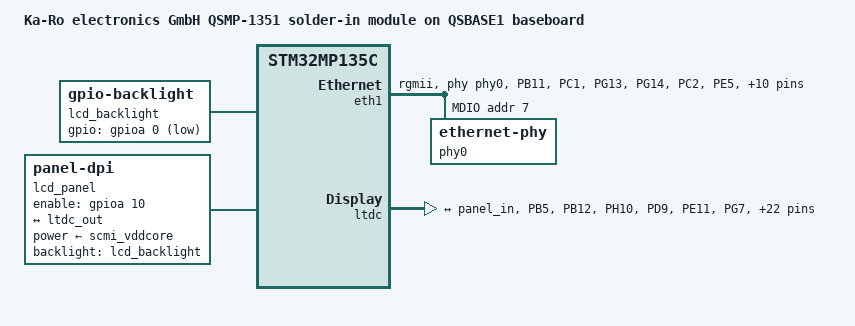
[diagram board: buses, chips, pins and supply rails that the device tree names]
// SPDX-License-Identifier: (GPL-2.0 OR BSD-3-Clause)
/*
 * Based on STM32CubeMX tool generated source.
 *
 * Copyright (C) 2024 Markus Bauer <MB@KARO-electronics.de>
 */

/dts-v1/;

#include <dt-bindings/gpio/gpio.h>
#include "stm32mp135c-qsmp-1351.dts"

/ {
	model = "Ka-Ro electronics GmbH QSMP-1351 solder-in module on QSBASE1 baseboard";

	aliases {
		display = &lcd_panel;
		ethernet0 = &eth1;
	};

	lcd_backlight: lcd-backlight {
		compatible = "gpio-backlight";
		gpios = <&gpioa 0 GPIO_ACTIVE_LOW>;
		default-on;
		status = "okay";
	};

	lcd_panel: lcd-panel {
		compatible = "panel-dpi";
		power-supply = <&scmi_vddcore>;
		enable-gpios = <&gpioa 10 GPIO_ACTIVE_HIGH>;
		data-mapping = "rgb24";
		backlight = <&lcd_backlight>;
		status = "okay";

		width-mm = <105>;
		height-mm = <67>;

		port {
			panel_in: endpoint {
				remote-endpoint = <&ltdc_out>;
			};
		};

		// TODO
		// insert more display timings
		panel-timing {
			clock-frequency = <25200000>;
			hactive = <640>;
			vactive = <480>;
			hback-porch = <114>;
			hsync-len = <30>;
			hfront-porch = <16>;
			vback-porch = <32>;
			vsync-len = <3>;
			vfront-porch = <10>;
			hsync-active = <0>;
			vsync-active = <0>;
			de-active = <1>;
			pixelclk-active = <0>;
		};
	};
};

&eth1 {
	pinctrl-names = "default", "sleep";
        pinctrl-0 = <&qsmp_ethernet0_rgmii_pins>;
	pinctrl-1 = <&qsmp_ethernet0_rgmii_sleep_pins>;
	phy-mode = "rgmii";
	phy-handle = <&phy0>;
	phy-reset-gpios = <&gpioa 4 GPIO_ACTIVE_LOW>;
	phy-reset-delay-us = <10000>;
	phy-reset-post-delay-us = <100>;
	status = "okay";

	mdio0: mdio0 {
		#address-cells = <1>;
		#size-cells = <0>;

		phy0: ethernet-phy@7 {
			reg = <7>;
			micrel,force-master;
			rxd0-skew-ps = <(420 + 6)>;
			rxd1-skew-ps = <(420 + 5)>;
			rxd2-skew-ps = <(420 - 1)>;
			rxd3-skew-ps = <(420 - 22)>;
			txd0-skew-ps = <(420 - 103)>;
			txd1-skew-ps = <(420 - 104)>;
			txd2-skew-ps = <(420 - 73)>;
			txd3-skew-ps = <(420 - 25)>;
			txen-skew-ps = <(420 + 15)>;
			rxdv-skew-ps = <(420 - 12)>;
			rxc-skew-ps = <(900 + 0)>;
			txc-skew-ps = <(900 + 1000)>;
		};
	};
};

&ltdc {
	pinctrl-names = "default", "sleep";
	pinctrl-0 = <&qsmp_ltdc_pins>;
	pinctrl-1 = <&qsmp_ltdc_sleep_pins>;
	status = "okay";

	port {
		ltdc_out: endpoint {
			remote-endpoint = <&panel_in>;
		};
	};
};

&pinctrl {
	qsmp_ethernet0_rgmii_pins: qsmp-ethernet0-rgmii-pins {
		pins1 {
			pinmux = <
				  STM32_PINMUX('B', 11, AF11) /* ETH1_RGMII_TX_CTL */
				  STM32_PINMUX('C', 1, AF11) /* ETH1_RGMII_GTX_CLK */
				  STM32_PINMUX('G', 13, AF11) /* ETH1_RGMII_TXD0 */
				  STM32_PINMUX('G', 14, AF11) /* ETH1_RGMII_TXD1 */
				  STM32_PINMUX('C', 2, AF11) /* ETH1_RGMII_TXD2 */
				  STM32_PINMUX('E', 5, AF10) /* ETH1_RGMII_TXD3 */
			>;
			bias-disable;
			drive-push-pull;
			slew-rate = <2>;
		};

		pins2 {
			pinmux = <
				  STM32_PINMUX('A', 2, AF11) /* ETH1_MDIO */
				  STM32_PINMUX('G', 2, AF11) /* ETH1_MDC */
			>;
			bias-disable;
			drive-push-pull;
			slew-rate = <0>;
		};

		/* Micrel KSZ9031 strap pins (PIN | strap option) */
		pins3 {
			pinmux = <
				  STM32_PINMUX('A', 7, AF11) /* ETH1_RX_CTL | CLK125_EN */
				  STM32_PINMUX('C', 4, AF11) /* ETH1_RXD0 | MODE0 */
				  STM32_PINMUX('C', 5, AF11) /* ETH1_RXD1 | MODE1 */
				  STM32_PINMUX('B', 0, AF11) /* ETH1_RXD2 | MODE2 */
				  STM32_PINMUX('B', 1, AF11) /* ETH1_RXD3 | MODE3 */
				  /* strap PHY address; LOW = 0x3, HIGH = 0x7 */
				  STM32_PINMUX('D', 7, AF10) /* RX_CLK | PHYAD2 */
			>;
			bias-pull-up;
		};

		pins4 {
			pinmux = <
				  STM32_PINMUX('F', 12, AF11) /* CLK125 | LED_MODE */
			>;
			bias-pull-down;
		};
	};

	qsmp_ethernet0_rgmii_sleep_pins: qsmp-rgmii-sleep-pins {
		pins1 {
			pinmux = <
				  STM32_PINMUX('F', 12, ANALOG) /* ETH_RGMII_CLK125 */
				  STM32_PINMUX('C', 1, ANALOG) /* ETH_RGMII_GTX_CLK */
				  STM32_PINMUX('G', 13, ANALOG) /* ETH_RGMII_TXD0 */
				  STM32_PINMUX('G', 14, ANALOG) /* ETH_RGMII_TXD1 */
				  STM32_PINMUX('C', 2, ANALOG) /* ETH_RGMII_TXD2 */
				  STM32_PINMUX('E', 5, ANALOG) /* ETH_RGMII_TXD3 */
				  STM32_PINMUX('B', 11, ANALOG) /* ETH_RGMII_TX_CTL */
				  STM32_PINMUX('A', 2, ANALOG) /* ETH_MDIO */
				  STM32_PINMUX('G', 2, ANALOG) /* ETH_MDC */
				  STM32_PINMUX('C', 4, ANALOG) /* ETH_RGMII_RXD0 */
				  STM32_PINMUX('C', 5, ANALOG) /* ETH_RGMII_RXD1 */
				  STM32_PINMUX('B', 0, ANALOG) /* ETH_RGMII_RXD2 */
				  STM32_PINMUX('B', 1, ANALOG) /* ETH_RGMII_RXD3 */
				  STM32_PINMUX('D', 7, ANALOG) /* ETH_RGMII_RX_CLK */
				  STM32_PINMUX('A', 7, ANALOG) /* ETH_RGMII_RX_CTL */
			>;
		};
	};

	qsmp_ltdc_pins: qsmp-ltdc-pins {
		pins {
			pinmux = <
				  STM32_PINMUX('B',  5, AF14) /* LCD_DE */
				  STM32_PINMUX('B', 12, AF14) /* LCD_VSYNC */
				  STM32_PINMUX('H', 10, AF13) /* LCD_HSYNC */
				  STM32_PINMUX('D',  9, AF13) /* LCD_CLK */
				  STM32_PINMUX('E', 11,  AF9) /* LCD_R0 */
				  STM32_PINMUX('G',  7, AF11) /* LCD_R1 */
				  STM32_PINMUX('H',  8, AF14) /* LCD_R2 */
				  STM32_PINMUX('B', 10, AF14) /* LCD_R3 */
				  STM32_PINMUX('D', 14, AF14) /* LCD_R4 */
				  STM32_PINMUX('E',  7, AF14) /* LCD_R5 */
				  STM32_PINMUX('A',  9, AF14) /* LCD_R6 */
				  STM32_PINMUX('D', 11, AF11) /* LCD_R7 */
				  STM32_PINMUX('F',  5,  AF9) /* LCD_G0 */
				  STM32_PINMUX('F',  1, AF14) /* LCD_G1 */
				  STM32_PINMUX('H', 13, AF14) /* LCD_G2 */
				  STM32_PINMUX('F',  3, AF14) /* LCD_G3 */
				  STM32_PINMUX('G',  5, AF11) /* LCD_G4 */
				  STM32_PINMUX('G',  0, AF14) /* LCD_G5 */
				  STM32_PINMUX('E', 12, AF14) /* LCD_G6 */
				  STM32_PINMUX('A', 15, AF11) /* LCD_G7 */
				  STM32_PINMUX('D',  5, AF13) /* LCD_B0 */
				  STM32_PINMUX('G',  8,  AF7) /* LCD_B1 */
				  STM32_PINMUX('D', 10, AF14) /* LCD_B2 */
				  STM32_PINMUX('F',  2, AF14) /* LCD_B3 */
				  STM32_PINMUX('H', 14, AF11) /* LCD_B4 */
				  STM32_PINMUX('D', 15, AF14) /* LCD_B5 */
				  STM32_PINMUX('B',  6,  AF7) /* LCD_B6 */
				  STM32_PINMUX('E', 15, AF14) /* LCD_B7 */
			>;
			bias-disable;
			drive-push-pull;
			slew-rate = <0>;
		};
	};

	qsmp_ltdc_sleep_pins: qsmp-ltdc-sleep-pins {
		pins {
			pinmux = <
				  STM32_PINMUX('B',  5, ANALOG) /* LCD_DE */
				  STM32_PINMUX('B', 12, ANALOG) /* LCD_VSYNC */
				  STM32_PINMUX('H', 10, ANALOG) /* LCD_HSYNC */
				  STM32_PINMUX('D',  9, ANALOG) /* LCD_CLK */
				  STM32_PINMUX('E', 11, ANALOG) /* LCD_R0 */
				  STM32_PINMUX('G',  7, ANALOG) /* LCD_R1 */
				  STM32_PINMUX('H',  8, ANALOG) /* LCD_R2 */
				  STM32_PINMUX('B', 10, ANALOG) /* LCD_R3 */
				  STM32_PINMUX('D', 14, ANALOG) /* LCD_R4 */
				  STM32_PINMUX('E',  7, ANALOG) /* LCD_R5 */
				  STM32_PINMUX('A',  9, ANALOG) /* LCD_R6 */
				  STM32_PINMUX('D', 11, ANALOG) /* LCD_R7 */
				  STM32_PINMUX('F',  5, ANALOG) /* LCD_G0 */
				  STM32_PINMUX('F',  1, ANALOG) /* LCD_G1 */
				  STM32_PINMUX('H', 13, ANALOG) /* LCD_G2 */
				  STM32_PINMUX('F',  3, ANALOG) /* LCD_G3 */
				  STM32_PINMUX('G',  5, ANALOG) /* LCD_G4 */
				  STM32_PINMUX('G',  0, ANALOG) /* LCD_G5 */
				  STM32_PINMUX('E', 12, ANALOG) /* LCD_G6 */
				  STM32_PINMUX('A', 15, ANALOG) /* LCD_G7 */
				  STM32_PINMUX('D',  5, ANALOG) /* LCD_B0 */
				  STM32_PINMUX('G',  8, ANALOG) /* LCD_B1 */
				  STM32_PINMUX('D', 10, ANALOG) /* LCD_B2 */
				  STM32_PINMUX('F',  2, ANALOG) /* LCD_B3 */
				  STM32_PINMUX('H', 14, ANALOG) /* LCD_B4 */
				  STM32_PINMUX('D', 15, ANALOG) /* LCD_B5 */
				  STM32_PINMUX('B',  6, ANALOG) /* LCD_B6 */
				  STM32_PINMUX('E', 15, ANALOG) /* LCD_B7 */
			>;
		};
	};
};
